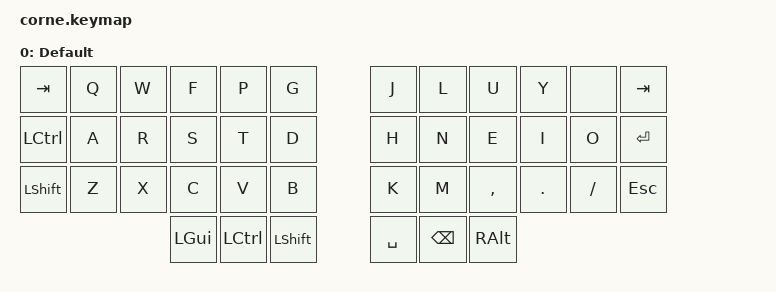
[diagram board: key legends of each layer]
/*
 * Copyright (c) 2020 The ZMK Contributors
 *
 * SPDX-License-Identifier: MIT
 */

#include <behaviors.dtsi>
#include <dt-bindings/zmk/keys.h>
#include <dt-bindings/zmk/bt.h>
// #include "corne.combos.dtsi"
// #include "corne.custom.dtsi"
#include <zmk-helpers/helper.h>

#define ZMK_BASE_LAYER(name, LT, RT, LM, RM, LB, RB, LH, RH) \
    ZMK_LAYER(name, LT RT LM RM LB RB LH RH)

ZMK_BEHAVIOR_TAP_DANCE(ck_home, bindings = <KC_HOME>, <KC_END>;)

ZMK_BASE_LAYER(Base,
    //╭──────────┬──────────┬──────────┬──────────┬──────────┬──────────╮                       ╭──────────┬──────────┬──────────┬──────────┬──────────┬──────────╮
       &kp ESC    &kp Q      &kp W      &kp F      &kp P      &kp G,                             &kp J      &kp L      &kp U      &kp Y      &none      &kp TAB,
    //├──────────┼──────────┼──────────┼──────────┼──────────┼──────────┤                       ├──────────┼──────────┼──────────┼──────────┼──────────┼──────────┤
       &kp LCTRL  &kp A      &kp R      &kp S      &kp T      &kp D,                             &kp H      &kp N      &kp E      &kp I      &kp O      &kp RET,
    //├──────────┼──────────┼──────────┼──────────┼──────────┼──────────┤                       ├──────────┼──────────┼──────────┼──────────┼──────────┼──────────┤
       &kp LSHFT  &kp Z      &kp X      &kp C      &kp V      &kp B,                             &kp K      &kp M      &kp COMMA  &kp DOT    &kp FSLH   &ck_home,
    //╰──────────┴──────────┴──────────┴──────────┼──────────┼──────────┼──────────╮ ╭──────────┼──────────┼──────────┼──────────┴──────────┴──────────┴──────────╯
                                                   &kp LGUI   &kp LCTRL  &kp LSHFT,   &kp SPACE  &kp BSPC   &kp RALT
    //                                            ╰──────────┴──────────┴──────────╯ ╰──────────┴──────────┴──────────╯
)

/ {
    keymap {
        compatible = "zmk,keymap";

        default_layer {
            display-name = "Default";
            bindings = <
            //╭──────────┬──────────┬──────────┬──────────┬──────────┬──────────╮                       ╭──────────┬──────────┬──────────┬──────────┬──────────┬──────────╮
               &kp TAB    &kp Q      &kp W      &kp F      &kp P      &kp G                              &kp J      &kp L      &kp U      &kp Y      &none      &kp TAB
            //├──────────┼──────────┼──────────┼──────────┼──────────┼──────────┤                       ├──────────┼──────────┼──────────┼──────────┼──────────┼──────────┤
               &kp LCTRL  &kp A      &kp R      &kp S      &kp T      &kp D                              &kp H      &kp N      &kp E      &kp I      &kp O      &kp RET
            //├──────────┼──────────┼──────────┼──────────┼──────────┼──────────┤                       ├──────────┼──────────┼──────────┼──────────┼──────────┼──────────┤
               &kp LSHFT  &kp Z      &kp X      &kp C      &kp V      &kp B                              &kp K      &kp M      &kp COMMA  &kp DOT    &kp FSLH   &kp ESC
            //╰──────────┴──────────┴──────────┴──────────┼──────────┼──────────┼──────────╮ ╭──────────┼──────────┼──────────┼──────────┴──────────┴──────────┴──────────╯
                                                           &kp LGUI   &kp LCTRL  &kp LSHFT    &kp SPACE  &kp BSPC   &kp RALT
            //                                            ╰──────────┴──────────┴──────────╯ ╰──────────┴──────────┴──────────╯
            >;
        };
//                lower_layer {
// -----------------------------------------------------------------------------------------
// |  TAB |  1  |  2  |  3  |  4  |  5  |   |  6  |  7  |  8  |  9  |  0  | BKSP |
// | BTCLR| BT1 | BT2 | BT3 | BT4 | BT5 |   | LFT | DWN |  UP | RGT |     |      |
// | SHFT |     |     |     |     |     |   |     |     |     |     |     |      |
//                    | GUI |     | SPC |   | ENT |     | ALT |
//                        display-name = "Lower";
//                        bindings = <
//   &kp TAB    &kp N1       &kp N2       &kp N3       &kp N4       &kp N5         &kp N6   &kp N7   &kp N8 &kp N9    &kp N0 &kp BSPC
//   &bt BT_CLR &bt BT_SEL 0 &bt BT_SEL 1 &bt BT_SEL 2 &bt BT_SEL 3 &bt BT_SEL 4   &kp LEFT &kp DOWN &kp UP &kp RIGHT &trans &trans
//   &kp LSHFT  &trans       &trans       &trans       &trans       &trans         &trans   &trans   &trans &trans    &trans &trans
//                          	        &kp LGUI     &trans       &kp SPACE      &kp RET  &trans   &kp RALT
//                        >;
//                };
//
//                raise_layer {
// -----------------------------------------------------------------------------------------
// |  TAB |  !  |  @  |  #  |  $  |  %  |   |  ^  |  &  |  *  |  (  |  )  | BKSP |
// | CTRL |     |     |     |     |     |   |  -  |  =  |  [  |  ]  |  \  |  `   |
// | SHFT |     |     |     |     |     |   |  _  |  +  |  {  |  }  | "|" |  ~   |
//                    | GUI |     | SPC |   | ENT |     | ALT |
//                        display-name = "Raise";
//                        bindings = <
//   &kp  TAB  &kp EXCL &kp AT &kp HASH &kp DLLR &kp PRCNT   &kp CARET &kp AMPS  &kp KP_MULTIPLY &kp LPAR &kp RPAR &kp BSPC
//   &kp LCTRL &trans   &trans &trans   &trans   &trans      &kp MINUS &kp EQUAL &kp LBKT        &kp RBKT &kp BSLH &kp GRAVE
//   &kp LSHFT &trans   &trans &trans   &trans   &trans      &kp UNDER &kp PLUS  &kp LBRC        &kp RBRC &kp PIPE &kp TILDE
//                    	     &kp LGUI &trans   &kp SPACE   &kp RET   &trans    &kp RALT
//                        >;
//                };
//
//                extra_1 {
//                        status = "reserved";
//                };
//
//                extra_2 {
//                        status = "reserved";
//                };
//
//                extra_3 {
//                        status = "reserved";
//                };
    };
};

// ZMK_LEADER_SEQUENCE_4(altgrASpace,      <&uc 00E4>, <41 13 39>,    <0>)
// ZMK_LEADER_SEQUENCE_4(altgrShiftASpace, <&uc 00C4>, <41 38 13 39>, <0>)
//
// ZMK_LEADER_SEQUENCE_4(altgrAQ,      <&uc 00E1>, <41 13 1>,    <0>)
// ZMK_LEADER_SEQUENCE_4(altgrShiftAQ, <&uc 00C1>, <41 13 13 1>, <0>)
